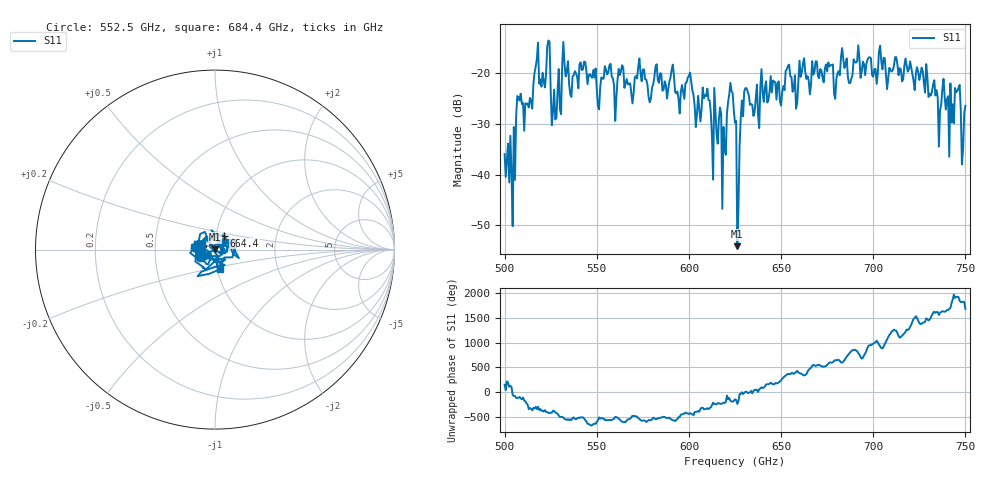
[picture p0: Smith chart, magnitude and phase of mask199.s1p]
!Created with skrf (http://scikit-rf.org).
# GHz S MA R 50.0
!freq magS11 angS11
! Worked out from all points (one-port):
!   401 points, 500 GHz to 750 GHz, reference 50 ohm
!   lowest |S11| = -54.2 dB at 626.2 GHz (marker M1), VSWR 1.00, Z = 49.9 + j0.155 ohm
!   |S11| at or under -10 dB: start of sweep to end of sweep
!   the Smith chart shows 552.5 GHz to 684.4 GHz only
!   S11 on the Smith chart (normalised r, x): 552.5 GHz: 0.85, -0.07; 664.4 GHz: 1.09, +0.17; 684.4 GHz: 1.03, -0.23
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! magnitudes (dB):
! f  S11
! 500 GHz  -36.0
! 504.4 GHz  -50.2
! 507.5 GHz  -24.7
! 513.8 GHz  -24.9
! 516.9 GHz  -18.7
! 520.6 GHz  -19.9
! 523.8 GHz  -13.5
! 526.9 GHz  -23.2
! 531.2 GHz  -18.2
! 552.5 GHz  -20.8
! 562.5 GHz  -20.4
! 578.8 GHz  -25.7
! 590.6 GHz  -19.3
! 593.8 GHz  -23.6
! 608.8 GHz  -24.3
! 619.4 GHz  -34.8
! 622.5 GHz  -21.9
! 625 GHz  -29.8
! 626.2 GHz  -54.2
! 631.2 GHz  -23.0
! 656.2 GHz  -23.7
! 664.4 GHz  -20.6
! 684.4 GHz  -19.0
! 687.5 GHz  -21.9
! 690.6 GHz  -17.9
! 718.8 GHz  -19.7
! 745.6 GHz  -23.5
! 750 GHz  -26.4
